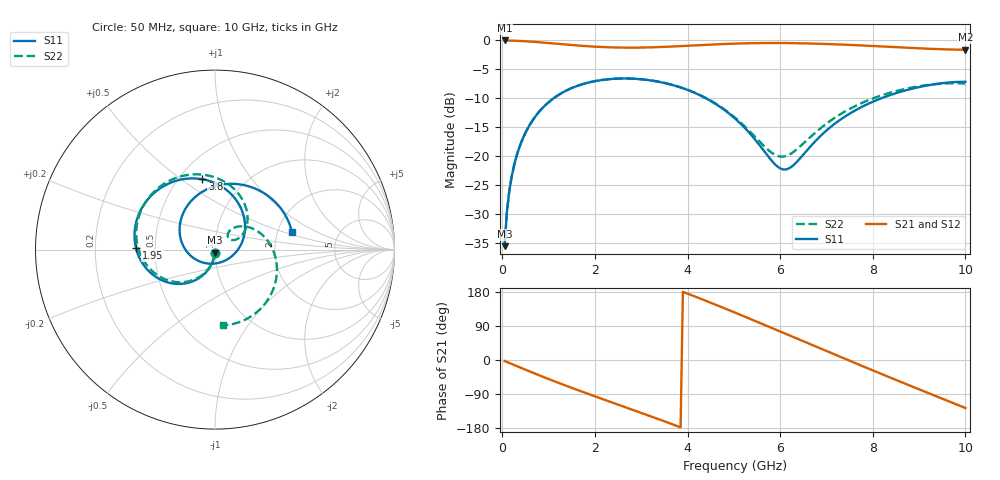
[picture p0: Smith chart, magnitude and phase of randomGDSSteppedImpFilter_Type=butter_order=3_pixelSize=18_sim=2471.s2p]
! freq	dB(S11)	phase(S11)	dB(S12)	phase(S12)
!  dB(S21)	phase(S21)	dB(S22)	phase(S22)
!S-par simulation data
#  GHz  S  DB  R 50
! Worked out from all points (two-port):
!   200 points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, 50 MHz to 10 GHz, reference 50 ohm
!   highest |S21| = -0.01 dB at 50 MHz (marker M1); lowest = -1.6 dB at 10 GHz (marker M2)
!   |S21| within 3 dB of the highest: start of sweep to end of sweep
!   lowest |S11| = -35.6 dB at 50 MHz (marker M3), VSWR 1.03, Z = 49.9 - j1.66 ohm
!   |S11| at or under -10 dB: start of sweep to 1.108 GHz; 4.397 GHz to 8.183 GHz (3.786 GHz wide, 60.2 % of centre)
!   |S22| runs from -35.6 to -6.6 dB; largest |S21 - S12| = 0
!   S11 on the Smith chart (normalised r, x): 50 MHz: 1.00, -0.03; 1.95 GHz: 0.39, +0.01; 3.8 GHz: 0.65, +0.60; 10 GHz: 2.39, +0.59
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0.05  -35.56 -92.3  -0.01 -2.6  -0.01 -2.6  -35.56 -92.5
0.1  -29.58 -95.0  -0.01 -5.2  -0.01 -5.2  -29.58 -95.3
0.2  -23.65 -100.3  -0.03 -10.3  -0.03 -10.3  -23.65 -100.9
0.5  -15.97 -115.4  -0.15 -25.6  -0.15 -25.6  -15.97 -116.9
1.1  -10.05 -143.9  -0.52 -55.0  -0.52 -55.0  -10.05 -147.2
1.75  -7.52 -172.7  -0.95 -84.8  -0.95 -84.8  -7.52 -178.1
1.95  -7.12 178.8  -1.06 -93.6  -1.06 -93.6  -7.12 172.7
2.65  -6.58 149.6  -1.25 -124.1  -1.25 -124.1  -6.58 141.2
3.4  -7.18 117.9  -1.15 -157.1  -1.15 -157.1  -7.17 107.2
3.8  -8.00 100.2  -1.01 -175.4  -1.01 -175.4  -7.98 88.8
4.4  -10.01 71.8  -0.76 156.1  -0.76 156.1  -9.97 61.2
5.05  -13.68 36.1  -0.54 123.8  -0.54 123.8  -13.52 34.9
5.55  -18.05 -1.7  -0.46 98.4  -0.46 98.4  -17.42 25.4
6.05  -22.27 -69.9  -0.45 72.7  -0.45 72.7  -20.09 40.2
6.7  -17.92 -157.6  -0.54 39.1  -0.54 39.1  -16.36 50.5
7.1  -14.89 172.4  -0.65 18.6  -0.65 18.6  -13.80 39.6
7.5  -12.65 147.6  -0.77 -1.9  -0.77 -1.9  -11.84 24.2
7.9  -10.96 124.8  -0.92 -22.3  -0.92 -22.3  -10.34 7.2
8.35  -9.51 100.0  -1.11 -45.0  -1.11 -45.0  -9.09 -12.4
9.15  -7.82 57.0  -1.42 -84.8  -1.42 -84.8  -7.75 -46.8
9.55  -7.34 36.0  -1.54 -104.5  -1.54 -104.5  -7.45 -64.0
10  -7.15 13.0  -1.62 -126.6  -1.62 -126.6  -7.45 -83.7
